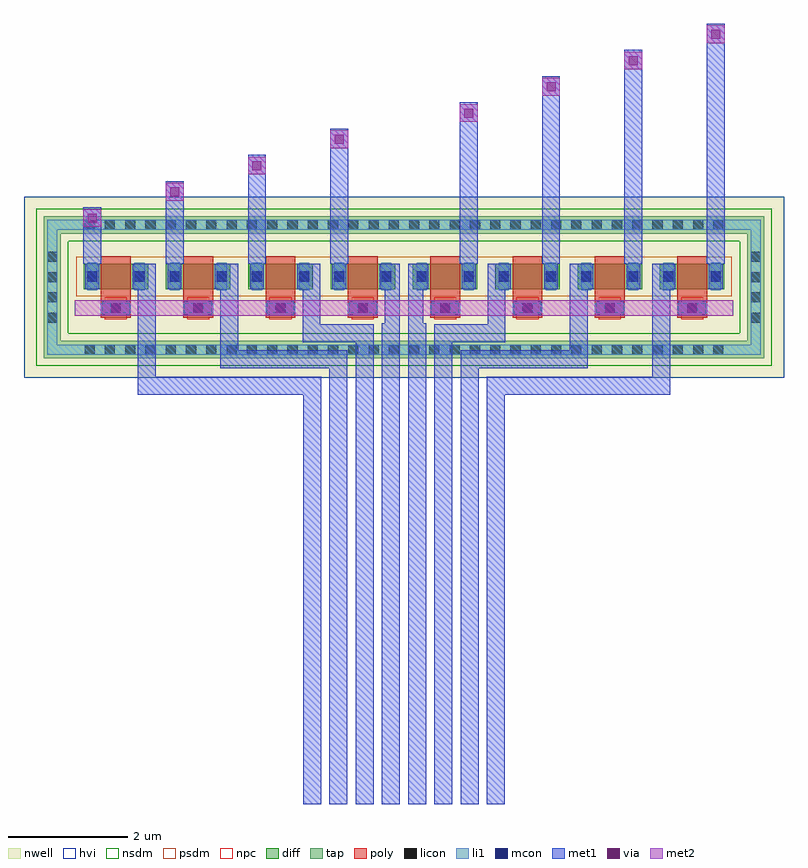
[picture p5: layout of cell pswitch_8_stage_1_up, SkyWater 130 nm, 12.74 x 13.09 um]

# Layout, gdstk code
import gdstk
lib = gdstk.Library(unit=1e-6, precision=1e-09)
def R(c, l, rs):  # rectangles x0, y0, x1, y1
    for r in rs: c.add(gdstk.rectangle(r[:2], r[2:], *l))
def A(c, l, x, y, w, h, nx, ny, dx, dy):  # array of equal rectangles
    R(c, l, [(x+i*dx, y+j*dy, x+i*dx+w, y+j*dy+h) for i in range(nx) for j in range(ny)])
nwell = (64, 20)
diff = (65, 20)
tap = (65, 44)
poly = (66, 20)
licon = (66, 44)
li1 = (67, 20)
mcon = (67, 44)
met1 = (68, 20)
via = (68, 44)
met2 = (69, 20)
hvi = (75, 20)
nsdm = (93, 44)
psdm = (94, 20)
npc = (95, 20)

sky130_fd_pr__pfet_g5v0d = lib.new_cell('sky130_fd_pr__pfet_g5v0d10v5_WJ97JY')
R(sky130_fd_pr__pfet_g5v0d, nwell, [(-0.72,-0.7,0.72,0.53)])
R(sky130_fd_pr__pfet_g5v0d, diff, [(-0.54,-0.39,0.54,0.03)])
R(sky130_fd_pr__pfet_g5v0d, poly, [(-0.25,-0.52,0.25,0.515)])
R(sky130_fd_pr__pfet_g5v0d, licon, [(-0.48,-0.265,-0.31,-0.095), (0.31,-0.265,0.48,-0.095), (-0.085,0.265,0.085,0.435)])
R(sky130_fd_pr__pfet_g5v0d, li1, [(-0.48,-0.41,-0.31,0.05), (0.31,-0.41,0.48,0.05), (-0.25,0.265,0.25,0.435)])
R(sky130_fd_pr__pfet_g5v0d, mcon, [(-0.48,-0.265,-0.31,-0.095), (0.31,-0.265,0.48,-0.095), (-0.085,0.265,0.085,0.435)])
R(sky130_fd_pr__pfet_g5v0d, met1, [(-0.51,-0.39,-0.28,0.03), (0.28,-0.39,0.51,0.03), (-0.23,0.235,0.23,0.465)])
R(sky130_fd_pr__pfet_g5v0d, hvi, [(-0.72,-0.7,0.72,-0.6), (-1.145,-0.6,1.145,0.24), (-0.72,0.24,0.72,0.53)])
R(sky130_fd_pr__pfet_g5v0d, psdm, [(-0.665,-0.515,0.665,0.155)])
R(sky130_fd_pr__pfet_g5v0d, npc, [(-0.185,0.165,0.185,0.535)])

hpmos_1 = lib.new_cell('hpmos_1')
R(hpmos_1, met1, [(9.99,-15.165,10.31,-14.905)])
R(hpmos_1, via, [(10.075,-15.11,10.225,-14.96)])
R(hpmos_1, met2, [(9.46,-15.165,10.84,-14.905)])
hpmos_1.add(gdstk.Reference(sky130_fd_pr__pfet_g5v0d, (10.15,-15.385)))

hpmos_2 = lib.new_cell('hpmos_2')
R(hpmos_2, psdm, [(12.36,-15.745,12.41,-15.075)])
hpmos_2.add(gdstk.Reference(hpmos_1, (2.925,0.155)))
hpmos_2.add(gdstk.Reference(hpmos_1, (1.545,0.155)))

hpmos_4 = lib.new_cell('hpmos_4')
R(hpmos_4, psdm, [(4.805,0.36,4.855,1.03)])
hpmos_4.add(gdstk.Reference(hpmos_2, (-6.175,16.105)))
hpmos_4.add(gdstk.Reference(hpmos_2, (-8.935,16.105)))

hpmos_8 = lib.new_cell('hpmos_8')
R(hpmos_8, nwell, [(1.135,-0.86,13.875,2.18)])
R(hpmos_8, tap, [(1.465,-0.53,13.545,-0.24), (1.465,-0.24,1.755,1.56), (13.255,-0.24,13.545,1.56), (1.465,1.56,13.545,1.85)])
A(hpmos_8, licon, 2.15, -0.47, 0.17, 0.17, 32, 2, 0.34, 2.09)
A(hpmos_8, licon, 1.525, 0.065, 0.17, 0.17, 1, 4, 0, 0.34)
A(hpmos_8, licon, 13.315, 0.065, 0.17, 0.17, 1, 4, 0, 0.34)
R(hpmos_8, li1, [(1.525,-0.47,13.485,-0.3), (1.525,-0.3,1.695,1.62), (13.315,-0.3,13.485,1.62), (1.525,1.62,13.485,1.79)])
R(hpmos_8, hvi, [(1.135,-0.86,13.875,2.18)])
R(hpmos_8, nsdm, [(1.34,-0.655,13.67,-0.115), (1.34,-0.115,1.88,1.435), (13.13,-0.115,13.67,1.435), (1.34,1.435,13.67,1.975)])
R(hpmos_8, psdm, [(7.48,0.145,7.53,0.815)])
hpmos_8.add(gdstk.Reference(hpmos_4, (5.435,-0.215)))
hpmos_8.add(gdstk.Reference(hpmos_4, (-0.085,-0.215)))

pswitch_8_stage_1_up = lib.new_cell('pswitch_8_stage_1_up')
R(pswitch_8_stage_1_up, met1, [(152.145,-49.06,152.445,-42.19), (152.585,-49.06,152.885,-41.75), (153.025,-49.06,153.325,-41.31), (153.465,-49.06,153.765,-40.995), (153.905,-49.06,154.205,-40.995), (154.345,-49.06,154.645,-41.31), (154.785,-49.06,155.085,-41.75), (155.225,-49.06,155.525,-42.19), (149.375,-42.19,152.445,-41.89), (155.225,-42.19,158.295,-41.89), (149.375,-41.89,149.675,-40), (157.995,-41.89,158.295,-40), (150.755,-41.75,152.885,-41.45), (154.785,-41.75,156.915,-41.45), (150.755,-41.45,151.055,-40), (156.615,-41.45,156.915,-40), (152.135,-41.31,153.325,-41.01), (154.345,-41.31,155.535,-41.01), (152.135,-41.01,152.435,-40), (155.235,-41.01,155.535,-40), (153.515,-40.995,153.765,-40), (153.905,-40.995,154.155,-40), (148.46,-40,148.76,-39.05), (149.84,-40,150.14,-38.61), (151.22,-40,151.52,-38.17), (152.6,-40,152.9,-37.73), (154.77,-40,155.07,-37.29), (156.15,-40,156.45,-36.85), (157.53,-40,157.83,-36.41), (158.91,-40,159.21,-35.97)])
R(pswitch_8_stage_1_up, via, [(148.535,-39.305,148.685,-39.155), (149.915,-38.865,150.065,-38.715), (151.295,-38.425,151.445,-38.275), (152.675,-37.985,152.825,-37.835), (154.845,-37.545,154.995,-37.395), (156.225,-37.105,156.375,-36.955), (157.605,-36.665,157.755,-36.515), (158.985,-36.225,159.135,-36.075)])
R(pswitch_8_stage_1_up, met2, [(148.46,-39.38,148.76,-39.08), (149.84,-38.94,150.14,-38.64), (151.22,-38.5,151.52,-38.2), (152.6,-38.06,152.9,-37.76), (154.77,-37.62,155.07,-37.32), (156.15,-37.18,156.45,-36.88), (157.53,-36.74,157.83,-36.44), (158.91,-36.3,159.21,-36)])
pswitch_8_stage_1_up.add(gdstk.Reference(hpmos_8, (146.33,-39.73), x_reflection=True))

lib.write_gds('pswitch_8_stage_1_up.gds')
